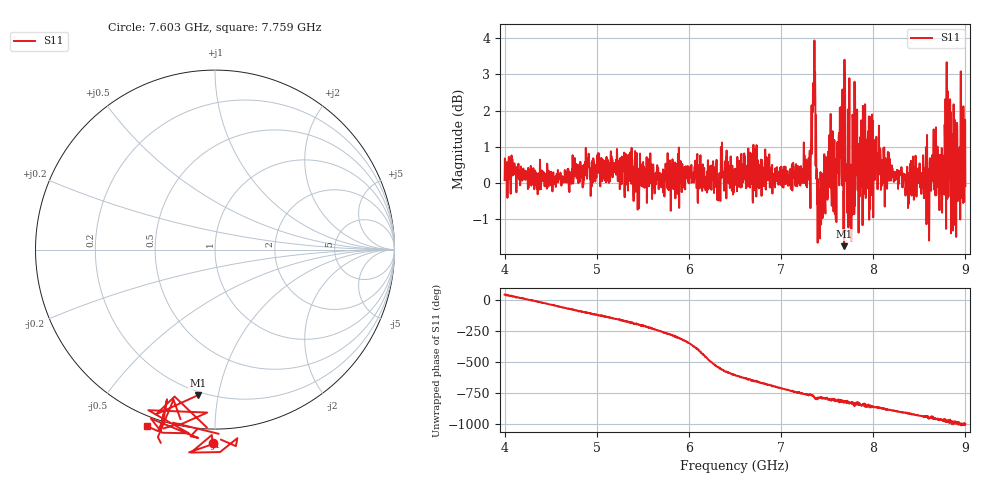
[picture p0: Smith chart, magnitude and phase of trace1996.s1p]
! Created with skrf 1.8.0 (http://scikit-rf.org).
# Hz S RI R 50.0
!freq ReS11 ImS11
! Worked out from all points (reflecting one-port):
!   1601 points, 4 GHz to 9 GHz, reference 50 ohm
!   lowest |S11| = -1.7 dB at 7.684 GHz (marker M1), VSWR 9.97, Z = 8.9 - j43.6 ohm
!   phase of S11 starts at 47 deg and turns -1050 deg over the sweep
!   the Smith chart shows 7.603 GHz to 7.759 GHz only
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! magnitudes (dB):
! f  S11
! 4 GHz  0.1
! 4.625 GHz  0.0
! 5.25 GHz  -0.2
! 5.875 GHz  0.2
! 6.5 GHz  -0.1
! 7.125 GHz  0.3
! 7.297 GHz  0.5
! 7.353 GHz  2.2
! 7.369 GHz  3.1
! 7.4 GHz  0.1
! 7.416 GHz  -0.3
! 7.512 GHz  0.5
! 7.594 GHz  -1.0
! 7.647 GHz  2.1
! 7.684 GHz  -1.7
! 7.75 GHz  -1.1
! 7.769 GHz  -0.8
! 7.8 GHz  -0.6
! 7.928 GHz  1.2
! 8.375 GHz  -0.1
! 8.559 GHz  0.3
! 8.603 GHz  -0.2
! 8.656 GHz  1.5
! 8.741 GHz  -0.3
! 8.816 GHz  -0.4
! 8.869 GHz  -0.1
! 8.972 GHz  0.5
! 9 GHz  -0.1
